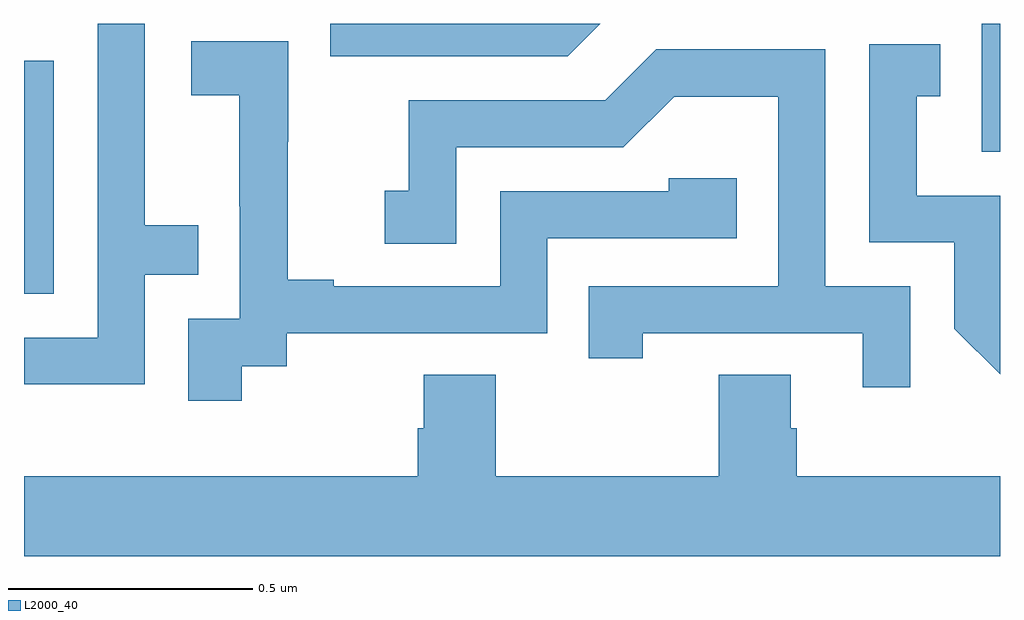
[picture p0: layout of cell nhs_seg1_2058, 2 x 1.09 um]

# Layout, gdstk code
import gdstk
lib = gdstk.Library(unit=1e-6, precision=1e-09)
def R(c, l, rs):  # rectangles x0, y0, x1, y1
    for r in rs: c.add(gdstk.rectangle(r[:2], r[2:], *l))
def P(c, l, *ps):  # polygons
    for p in ps: c.add(gdstk.Polygon(p, *l))
L2000_40 = (2000, 40)

nhs_seg1_2058 = lib.new_cell('nhs_seg1_2058')
R(nhs_seg1_2058, L2000_40, [(137,509.646,137.061,510.123), (138.963,509.937,139,510.199)])
P(nhs_seg1_2058, L2000_40, [(137.247,509.685),(137.357,509.685),(137.357,509.786),(137.247,509.786),(137.247,510.199),(137.151,510.199),(137.151,509.556),(137,509.556),(137,509.46),(137.247,509.46)],
  [(138.181,510.199),(137.628,510.199),(137.628,510.132),(138.114,510.132)],
  [(137.446,509.497),(137.538,509.497),(137.538,509.565),(138.072,509.565),(138.072,509.76),(138.461,509.76),(138.461,509.883),(138.321,509.883),(138.321,509.856),(137.976,509.856),(137.976,509.661),(137.635,509.661),(137.635,509.674),(137.54,509.674),(137.54,509.957),(137.541,509.957),(137.541,510.163),(137.343,510.163),(137.343,510.053),(137.441,510.053),(137.441,509.825),(137.442,509.825),(137.442,509.595),(137.337,509.595),(137.337,509.427),(137.446,509.427)],
  [(139,509.847),(138.829,509.847),(138.829,510.051),(138.878,510.051),(138.878,510.157),(138.732,510.157),(138.732,509.751),(138.906,509.751),(138.906,509.574),(139,509.481)],
  [(138.816,509.661),(138.642,509.661),(138.642,510.147),(138.296,510.147),(138.191,510.042),(137.788,510.042),(137.788,509.857),(137.739,509.857),(137.739,509.748),(137.886,509.748),(137.886,509.946),(138.228,509.946),(138.332,510.05),(138.546,510.05),(138.546,509.661),(138.157,509.661),(138.157,509.514),(138.268,509.514),(138.268,509.565),(138.719,509.565),(138.719,509.454),(138.816,509.454)],
  [(139,509.272),(138.584,509.272),(138.584,509.37),(138.571,509.37),(138.571,509.48),(138.424,509.48),(138.424,509.272),(137.967,509.272),(137.967,509.48),(137.819,509.48),(137.819,509.37),(137.807,509.37),(137.807,509.272),(137,509.272),(137,509.108),(139,509.108)])

lib.write_gds('nhs_seg1_2058.gds')
